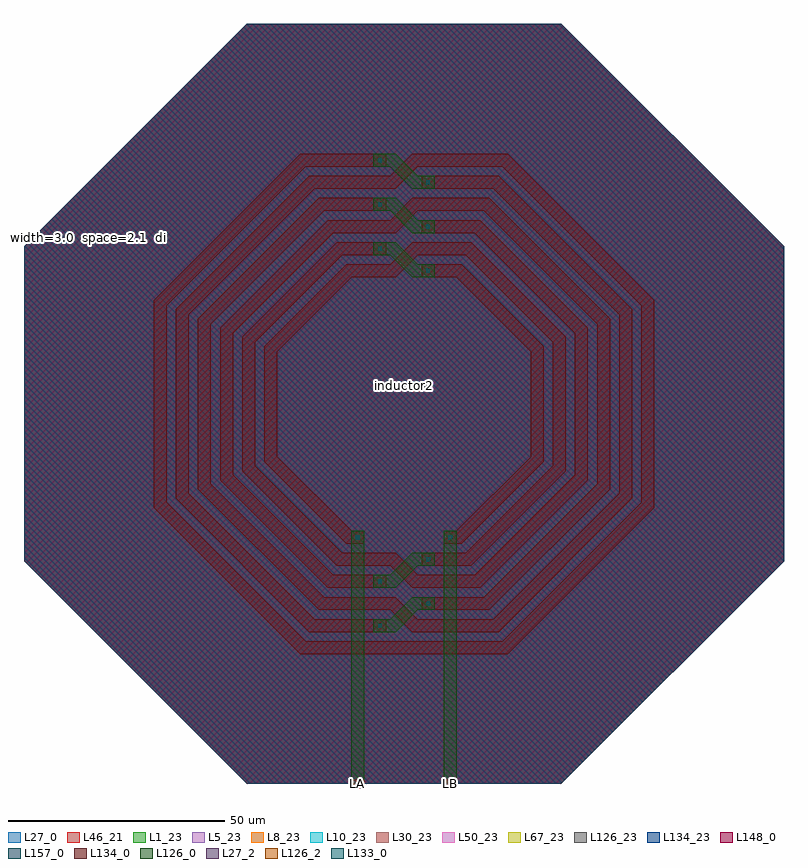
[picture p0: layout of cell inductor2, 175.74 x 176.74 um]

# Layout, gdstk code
import gdstk
lib = gdstk.Library(unit=1e-6, precision=1e-09)
def R(c, l, rs):  # rectangles x0, y0, x1, y1
    for r in rs: c.add(gdstk.rectangle(r[:2], r[2:], *l))
def A(c, l, x, y, w, h, nx, ny, dx, dy):  # array of equal rectangles
    R(c, l, [(x+i*dx, y+j*dy, x+i*dx+w, y+j*dy+h) for i in range(nx) for j in range(ny)])
def P(c, l, *ps):  # polygons
    for p in ps: c.add(gdstk.Polygon(p, *l))
L1_23 = (1, 23)
L5_23 = (5, 23)
L8_23 = (8, 23)
L10_23 = (10, 23)
L27_0 = (27, 0)
L27_2 = (27, 2)
L30_23 = (30, 23)
L46_21 = (46, 21)
L50_23 = (50, 23)
L67_23 = (67, 23)
L126_0 = (126, 0)
L126_2 = (126, 2)
L126_23 = (126, 23)
L133_0 = (133, 0)
L134_0 = (134, 0)
L134_23 = (134, 23)
L148_0 = (148, 0)
L157_0 = (157, 0)

inductor2 = lib.new_cell('inductor2')
P(inductor2, L1_23, [(-36.395,0),(-87.868,51.473),(-87.868,124.263),(-36.395,175.735),(36.395,175.735),(87.868,124.263),(87.868,51.473),(36.395,0)])
P(inductor2, L5_23, [(-36.395,0),(-87.868,51.473),(-87.868,124.263),(-36.395,175.735),(36.395,175.735),(87.868,124.263),(87.868,51.473),(36.395,0)])
P(inductor2, L8_23, [(-36.395,0),(-87.868,51.473),(-87.868,124.263),(-36.395,175.735),(36.395,175.735),(87.868,124.263),(87.868,51.473),(36.395,0)])
P(inductor2, L10_23, [(-36.395,0),(-87.868,51.473),(-87.868,124.263),(-36.395,175.735),(36.395,175.735),(87.868,124.263),(87.868,51.473),(36.395,0)])
P(inductor2, L27_0, [(-36.395,0),(-87.868,51.473),(-87.868,124.263),(-36.395,175.735),(36.395,175.735),(87.868,124.263),(87.868,51.473),(36.395,0)])
R(inductor2, L27_2, [(-12.16,-1,-9.16,1), (9.16,-1,12.16,1)])
P(inductor2, L30_23, [(-36.395,0),(-87.868,51.473),(-87.868,124.263),(-36.395,175.735),(36.395,175.735),(87.868,124.263),(87.868,51.473),(36.395,0)])
P(inductor2, L46_21, [(-36.395,0),(-87.868,51.473),(-87.868,124.263),(-36.395,175.735),(36.395,175.735),(87.868,124.263),(87.868,51.473),(36.395,0)])
P(inductor2, L50_23, [(-36.395,0),(-87.868,51.473),(-87.868,124.263),(-36.395,175.735),(36.395,175.735),(87.868,124.263),(87.868,51.473),(36.395,0)])
P(inductor2, L67_23, [(-36.395,0),(-87.868,51.473),(-87.868,124.263),(-36.395,175.735),(36.395,175.735),(87.868,124.263),(87.868,51.473),(36.395,0)])
P(inductor2, L126_0, [(1.95,117.115),(-3.17,122.235),(-7.06,122.235),(-7.06,125.235),(-1.95,125.235),(3.17,120.115),(7.06,120.115),(7.06,117.115)],
  [(1.95,127.355),(-3.17,132.475),(-7.06,132.475),(-7.06,135.475),(-1.95,135.475),(3.17,130.355),(7.06,130.355),(7.06,127.355)],
  [(-7.06,45.3),(-7.06,48.3),(-3.18,48.3),(1.92,53.4),(7.07,53.4),(7.07,50.4),(3.17,50.4),(-1.93,45.3)],
  [(1.95,137.595),(-3.17,142.715),(-7.06,142.715),(-7.06,145.715),(-1.95,145.715),(3.17,140.595),(7.06,140.595),(7.06,137.595)],
  [(-7.06,35.1),(-7.06,38.1),(-3.18,38.1),(1.92,43.2),(7.07,43.2),(7.07,40.2),(3.17,40.2),(-1.93,35.1)])
R(inductor2, L126_2, [(-12.16,-1,-9.16,1), (9.16,-1,12.16,1)])
P(inductor2, L126_23, [(-36.395,0),(-87.868,51.473),(-87.868,124.263),(-36.395,175.735),(36.395,175.735),(87.868,124.263),(87.868,51.473),(36.395,0)])
A(inductor2, L133_0, 5.11, 118.165, 0.9, 0.9, 1, 3, 0, 10.24)
A(inductor2, L133_0, -6.01, 123.265, 0.9, 0.9, 1, 3, 0, 10.24)
R(inductor2, L133_0, [(-6.01,36.15,-5.11,37.05), (5.12,41.25,6.02,42.15), (-6.01,46.35,-5.11,47.25), (5.12,51.45,6.02,52.35), (-11.11,56.55,-10.21,57.45), (10.21,56.55,11.11,57.45)])
R(inductor2, L134_0, [(-4.06,30,4.06,33)])
P(inductor2, L134_0, [(9.16,55.5),(9.16,58.5),(12.135,58.5),(29.308,75.673),(29.308,99.943),(12.135,117.115),(4.06,117.115),(4.06,120.115),(13.385,120.115),(32.308,101.193),(32.308,74.423),(13.385,55.5)],
  [(-13.385,55.5),(-32.308,74.423),(-32.308,101.193),(-13.385,120.115),(-4.06,120.115),(-4.06,117.115),(-12.135,117.115),(-29.308,99.943),(-29.308,75.673),(-12.135,58.5),(-9.16,58.5),(-9.16,55.5)],
  [(-4.06,117.115),(-4.06,120.115),(-3.17,120.115),(1.95,125.235),(4.06,125.235),(4.06,122.235),(3.2,122.235),(-1.92,117.115)],
  [(4.06,50.4),(4.06,53.4),(14.255,53.4),(34.418,73.563),(34.418,102.073),(14.255,122.235),(4.06,122.235),(4.06,125.235),(15.505,125.235),(37.418,103.323),(37.418,72.313),(15.505,50.4)],
  [(-15.505,50.4),(-37.418,72.313),(-37.418,103.323),(-15.505,125.235),(-4.06,125.235),(-4.06,122.235),(-14.255,122.235),(-34.418,102.073),(-34.418,73.563),(-14.255,53.4),(-4.06,53.4),(-4.06,50.4)],
  [(4.06,45.3),(4.06,48.3),(16.37,48.3),(39.528,71.458),(39.528,104.197),(16.37,127.355),(4.06,127.355),(4.06,130.355),(17.62,130.355),(42.528,105.447),(42.528,70.208),(17.62,45.3)],
  [(-17.62,45.3),(-42.528,70.208),(-42.528,105.447),(-17.62,130.355),(-4.06,130.355),(-4.06,127.355),(-16.37,127.355),(-39.528,104.197),(-39.528,71.458),(-16.37,48.3),(-4.06,48.3),(-4.06,45.3)],
  [(-4.06,127.355),(-4.06,130.355),(-3.17,130.355),(1.95,135.475),(4.06,135.475),(4.06,132.475),(3.2,132.475),(-1.92,127.355)],
  [(1.93,45.3),(-3.17,50.4),(-4.06,50.4),(-4.06,53.4),(-1.92,53.4),(3.18,48.3),(4.06,48.3),(4.06,45.3)],
  [(4.06,40.2),(4.06,43.2),(18.485,43.2),(44.638,69.352),(44.638,106.322),(18.485,132.475),(4.06,132.475),(4.06,135.475),(19.735,135.475),(47.638,107.572),(47.638,68.102),(19.735,40.2)],
  [(-19.735,40.2),(-47.638,68.102),(-47.638,107.572),(-19.735,135.475),(-4.06,135.475),(-4.06,132.475),(-18.485,132.475),(-44.638,106.322),(-44.638,69.352),(-18.485,43.2),(-4.06,43.2),(-4.06,40.2)],
  [(4.06,35.1),(4.06,38.1),(20.605,38.1),(49.748,67.242),(49.748,108.452),(20.605,137.595),(4.06,137.595),(4.06,140.595),(21.855,140.595),(52.748,109.702),(52.748,65.992),(21.855,35.1)],
  [(-21.855,35.1),(-52.748,65.992),(-52.748,109.702),(-21.855,140.595),(-4.06,140.595),(-4.06,137.595),(-20.605,137.595),(-49.748,108.452),(-49.748,67.242),(-20.605,38.1),(-4.06,38.1),(-4.06,35.1)],
  [(-4.06,137.595),(-4.06,140.595),(-3.17,140.595),(1.95,145.715),(4.06,145.715),(4.06,142.715),(3.2,142.715),(-1.92,137.595)],
  [(1.93,35.1),(-3.17,40.2),(-4.06,40.2),(-4.06,43.2),(-1.92,43.2),(3.18,38.1),(4.06,38.1),(4.06,35.1)],
  [(4.06,30),(4.06,33),(22.72,33),(54.858,65.137),(54.858,110.577),(22.72,142.715),(4.06,142.715),(4.06,145.715),(23.97,145.715),(57.858,111.827),(57.858,63.887),(23.97,30)],
  [(-23.97,30),(-57.858,63.887),(-57.858,111.827),(-23.97,145.715),(-4.06,145.715),(-4.06,142.715),(-22.72,142.715),(-54.858,110.577),(-54.858,65.137),(-22.72,33),(-4.06,33),(-4.06,30)])
P(inductor2, L134_23, [(-36.395,0),(-87.868,51.473),(-87.868,124.263),(-36.395,175.735),(36.395,175.735),(87.868,124.263),(87.868,51.473),(36.395,0)])
P(inductor2, L148_0, [(-36.395,0),(-87.868,51.473),(-87.868,124.263),(-36.395,175.735),(36.395,175.735),(87.868,124.263),(87.868,51.473),(36.395,0)])
P(inductor2, L157_0, [(-36.395,0),(-87.868,51.473),(-87.868,124.263),(-36.395,175.735),(36.395,175.735),(87.868,124.263),(87.868,51.473),(36.395,0)])
inductor2.add(gdstk.FlexPath([(10.66,-1),(10.66,58.5)], 3, ends="flush", simple_path=True, layer=126, datatype=0))  # L126_0
inductor2.add(gdstk.FlexPath([(-10.66,-1),(-10.66,58.5)], 3, ends="flush", simple_path=True, layer=126, datatype=0))  # L126_0
inductor2.add(gdstk.Label('LB', (10.66,0), layer=27, texttype=25))
inductor2.add(gdstk.Label('LA', (-10.66,0), layer=27, texttype=25))
inductor2.add(gdstk.Label('inductor2', (0,92.136), layer=63, texttype=0))
inductor2.add(gdstk.Label('  width=3.0\n  space=2.1\n  diameter=58.61\n  turns=6', (-87.868,126.245), layer=63, texttype=0))

lib.write_gds('inductor2.gds')
